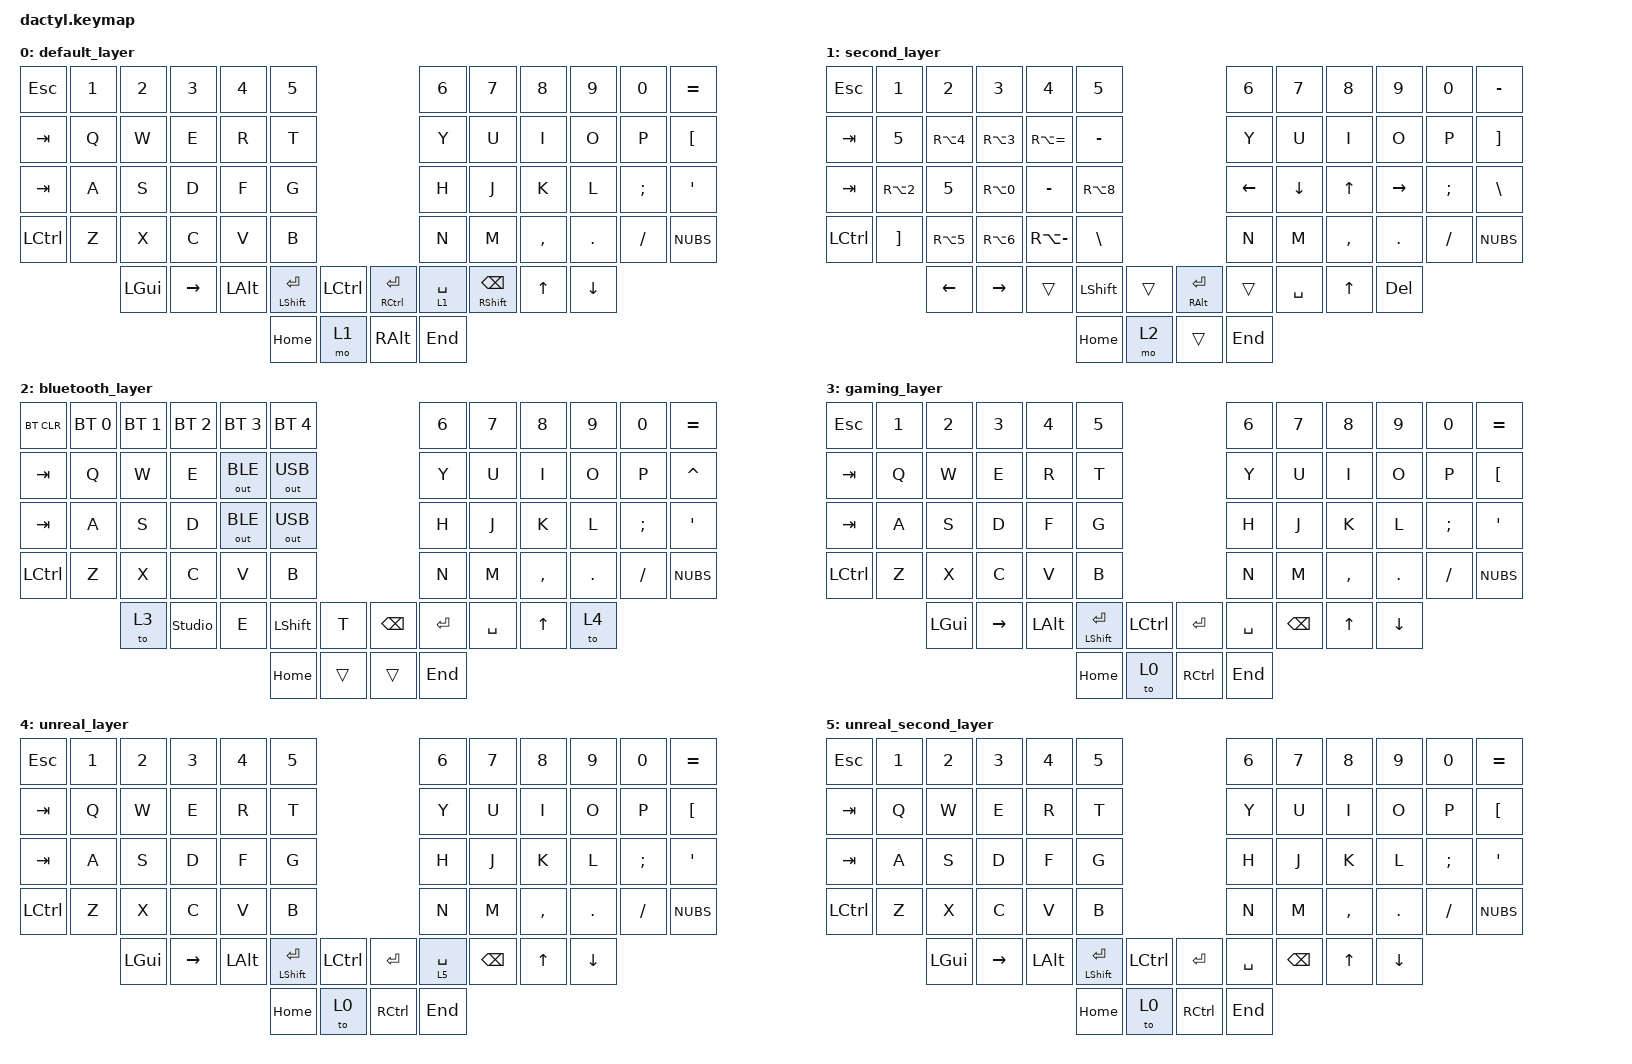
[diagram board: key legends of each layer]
#include <behaviors.dtsi>
#include <dt-bindings/zmk/keys.h>
#include <dt-bindings/zmk/bt.h>
#include <dt-bindings/zmk/outputs.h>

/ {
	keymap {
		compatible = "zmk,keymap";

		default_layer {
			bindings = <
		&kp ESC   &kp N1 &kp N2 &kp N3 &kp N4 &kp N5                        	&kp N6 &kp N7 &kp N8  &kp N9 &kp N0  &kp EQUAL     
		&kp TAB   &kp Q &kp W &kp E &kp R &kp T     	                    	&kp Y &kp U &kp I  &kp O &kp P  &kp LBKT     
		&kp TAB   &kp A &kp S &kp D &kp F &kp G     	                    	&kp H &kp J &kp K  &kp L &kp SEMI  &kp SQT     
		&kp LCTRL &kp Z &kp X &kp C &kp V &kp B   		                    &kp N &kp M &kp COMMA  &kp DOT &kp FSLH  &kp NUBS     
		          &kp LGUI &kp RIGHT &kp LALT &mt LSHIFT RET &kp LCTRL		&mt RCTRL RET &lt 1 SPACE &mt RSHIFT BSPC  &kp UP &kp DOWN       
		                            &kp HOME &mo 1 	                		&kp RALT &kp END       
			>;

		};

		second_layer {
			bindings = <
		&kp ESC   &kp N1     &kp N2     &kp N3     &kp N4        &kp N5     	  		&kp N6 &kp N7 &kp N8  &kp N9 &kp N0  &kp MINUS     
		&kp TAB   &kp N5     &kp RA(N4) &kp RA(N3) &kp RA(EQUAL) &kp MINUS     			&kp Y &kp U &kp I  &kp O &kp P  &kp RBKT     
		&kp TAB   &kp RA(N2) &kp N5     &kp RA(N0) &kp MINUS     &kp RA(N8)    			&kp LEFT &kp DOWN &kp UP  &kp RIGHT &kp SEMI  &kp BSLH     
		&kp LCTRL &kp RBKT   &kp RA(N5) &kp RA(N6) &kp RA(MINUS) &kp BSLH   			&kp N &kp M &kp COMMA  &kp DOT &kp FSLH  &kp NUBS     
			&kp LEFT &kp RIGHT &trans &kp LSHIFT &trans 					&mt RALT RET &trans &kp SPACE  &kp UP &kp DEL        
		                            &kp HOME &mo 2 						&trans &kp END       
			>;

		};

		bluetooth_layer {
			bindings = <
		&bt BT_CLR   	&bt BT_SEL 0 	&bt BT_SEL 1 &bt BT_SEL 2 &bt BT_SEL 3 &bt BT_SEL 4     &kp N6 &kp N7 &kp N8  &kp N9 &kp N0  &kp EQUAL     
		&kp TAB   	&kp Q		&kp W &kp E &out OUT_BLE &out OUT_USB     				&kp Y &kp U &kp I  &kp O &kp P  &kp CARET     
		&kp TAB   	&kp A 		&kp S &kp D &out OUT_BLE &out OUT_USB     				&kp H &kp J &kp K  &kp L &kp SEMI  &kp SQT     
		&kp LCTRL 	&kp Z 		&kp X &kp C &kp V &kp B   				&kp N &kp M &kp COMMA  &kp DOT &kp FSLH  &kp NUBS     
		          	&to 3 	&studio_unlock &kp E &kp LSHIFT &kp T 			&kp BSPC &kp RET &kp SPACE  &kp UP &to 4       
		                            	&kp HOME &trans 						&trans &kp END       
			>;

		};
		gaming_layer {
			bindings = <
				&kp ESC   &kp N1 &kp N2 &kp N3 &kp N4 &kp N5     		&kp N6 &kp N7 &kp N8  &kp N9 &kp N0  &kp EQUAL     
				&kp TAB   &kp Q &kp W &kp E &kp R &kp T     			&kp Y &kp U &kp I  &kp O &kp P  &kp LBKT     
				&kp TAB   &kp A &kp S &kp D &kp F &kp G     			&kp H &kp J &kp K  &kp L &kp SEMI  &kp SQT     
				&kp LCTRL &kp Z &kp X &kp C &kp V &kp B   			&kp N &kp M &kp COMMA  &kp DOT &kp FSLH  &kp NUBS     
				&kp LGUI &kp RIGHT &kp LALT &mt LSHIFT RET &kp LCTRL		&kp RET &kp SPACE &kp BSPC  &kp UP &kp DOWN       
				&kp HOME &to 0 			&kp RCTRL &kp END       
			>;

		};

        unreal_layer {
			bindings = <
				&kp ESC   &kp N1 &kp N2 &kp N3 &kp N4 &kp N5     		&kp N6 &kp N7 &kp N8  &kp N9 &kp N0  &kp EQUAL     
				&kp TAB   &kp Q &kp W &kp E &kp R &kp T     			&kp Y &kp U &kp I  &kp O &kp P  &kp LBKT     
				&kp TAB   &kp A &kp S &kp D &kp F &kp G     			&kp H &kp J &kp K  &kp L &kp SEMI  &kp SQT     
				&kp LCTRL &kp Z &kp X &kp C &kp V &kp B   			&kp N &kp M &kp COMMA  &kp DOT &kp FSLH  &kp NUBS     
				&kp LGUI &kp RIGHT &kp LALT &mt LSHIFT RET &kp LCTRL		&kp RET &lt 5 SPACE &kp BSPC  &kp UP &kp DOWN       
				&kp HOME &to 0 			&kp RCTRL &kp END       
			>;

		};

        unreal_second_layer {
			bindings = <
				&kp ESC   &kp N1 &kp N2 &kp N3 &kp N4 &kp N5     		&kp N6 &kp N7 &kp N8  &kp N9 &kp N0  &kp EQUAL     
				&kp TAB   &kp Q &kp W &kp E &kp R &kp T     			&kp Y &kp U &kp I  &kp O &kp P  &kp LBKT     
				&kp TAB   &kp A &kp S &kp D &kp F &kp G     			&kp H &kp J &kp K  &kp L &kp SEMI  &kp SQT     
				&kp LCTRL &kp Z &kp X &kp C &kp V &kp B   			&kp N &kp M &kp COMMA  &kp DOT &kp FSLH  &kp NUBS     
				&kp LGUI &kp RIGHT &kp LALT &mt LSHIFT RET &kp LCTRL		&kp RET &kp SPACE &kp BSPC  &kp UP &kp DOWN       
				&kp HOME &to 0 			&kp RCTRL &kp END       
			>;

		};

	};
};

&led_strip {
	chain-length = <31>;
};
